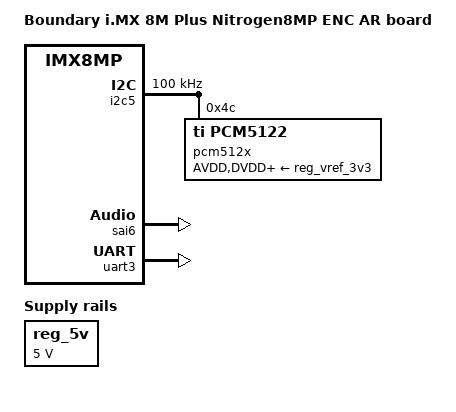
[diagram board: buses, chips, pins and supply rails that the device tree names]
// SPDX-License-Identifier: (GPL-2.0+ OR MIT)
/*
 * Copyright 2023 Boundary Devices
 */

#include "imx8mp-nitrogen8mp-enc.dts"

&iomuxc {
	pinctrl_hog: hoggrp {
		fsl,pins = <
			MX8MP_IOMUXC_HDMI_CEC__HDMIMIX_HDMI_CEC		0x40000019
			MX8MP_IOMUXC_HDMI_DDC_SCL__HDMIMIX_HDMI_SCL	0x400001c3
			MX8MP_IOMUXC_HDMI_DDC_SDA__HDMIMIX_HDMI_SDA	0x400001c3
			MX8MP_IOMUXC_HDMI_HPD__HDMIMIX_HDMI_HPD		0x40000019
			MX8MP_IOMUXC_NAND_DATA01__GPIO3_IO07		0x41	/* J9 pin 17 */
			/* J23 */
			MX8MP_IOMUXC_SAI1_TXD7__GPIO4_IO19		0x41	/* pin 1 */
			MX8MP_IOMUXC_SAI1_RXD4__GPIO4_IO06		0x41	/* pin 3 */
			MX8MP_IOMUXC_SAI1_TXC__GPIO4_IO11		0x41	/* pin 5 */
#if 0
			MX8MP_IOMUXC_SAI1_RXD5__GPIO4_IO07		0x41	/* pin 7 */ /* I2S DOUT */
#endif
			MX8MP_IOMUXC_GPIO1_IO07__GPIO1_IO07		0x41	/* pin 9 */
#if 0
			MX8MP_IOMUXC_SAI1_RXD6__GPIO4_IO08		0x41	/* pin 11 */ /* I2S SYNC */
			MX8MP_IOMUXC_SAI1_TXD4__GPIO4_IO16		0x41	/* pin 13 */ /* I2S BCLK */
#endif
			MX8MP_IOMUXC_SAI1_RXD7__GPIO4_IO09		0x41	/* pin 15 */
			MX8MP_IOMUXC_SAI1_TXFS__GPIO4_IO10		0x41	/* pin 17 */
#if 0
			MX8MP_IOMUXC_SAI1_TXD0__GPIO4_IO12		0x41	/* pin 19 */ /* REG_5V enable */
			MX8MP_IOMUXC_ECSPI1_MISO__GPIO5_IO08		0x41	/* pin 21 */ /* MUTE */
#endif
			MX8MP_IOMUXC_SAI1_TXD1__GPIO4_IO13		0x41	/* pin 23 */
			MX8MP_IOMUXC_SAI1_RXD2__GPIO4_IO04		0x41	/* pin 25 */
			MX8MP_IOMUXC_SAI1_TXD2__GPIO4_IO14		0x41	/* pin 27 */
			MX8MP_IOMUXC_SAI1_RXD3__GPIO4_IO05		0x41	/* pin 29 */
#if 0
			MX8MP_IOMUXC_SAI1_TXD3__GPIO4_IO15		0x41	/* pin 31 */ /* Uart3 TX enable */
			MX8MP_IOMUXC_SAI1_TXD5__GPIO4_IO17		0x41	/* pin 33 */ /* I2S DIN */
#endif

			MX8MP_IOMUXC_SAI1_MCLK__GPIO4_IO20		0x41	/* pin 4 */
#if 0
			MX8MP_IOMUXC_SAI5_MCLK__GPIO3_IO25		0x41	/* pin 6 */ /* I2C5 SDA */
#endif
			MX8MP_IOMUXC_SAI5_RXD3__GPIO3_IO24		0x41	/* pin 8 */
			MX8MP_IOMUXC_ECSPI2_MISO__GPIO5_IO12		0x41	/* Pin 10 */
#if 0
			MX8MP_IOMUXC_ECSPI2_MOSI__GPIO5_IO11		0x41	/* Pin 12 */ /* UART4 TX */
#endif
			MX8MP_IOMUXC_ECSPI2_SS0__GPIO5_IO13		0x41	/* Pin 14 */
#if 0
			MX8MP_IOMUXC_ECSPI2_SCLK__GPIO5_IO10		0x41	/* Pin 16 */ /* UART4 RX */
#endif
			MX8MP_IOMUXC_ECSPI1_SS0__GPIO5_IO09		0x41	/* pin 18 */
			MX8MP_IOMUXC_SD1_DATA4__GPIO2_IO06		0x41	/* pin 22 */
			MX8MP_IOMUXC_SD1_DATA5__GPIO2_IO07		0x41	/* pin 24 */
			MX8MP_IOMUXC_SD1_DATA6__GPIO2_IO08		0x41	/* pin 26 */
			MX8MP_IOMUXC_SD1_RESET_B__GPIO2_IO10		0x41	/* pin 28 */
#if 0
			MX8MP_IOMUXC_SPDIF_TX__GPIO5_IO03		0x41	/* pin 30 */ /* I2C5 SCL */
#endif
			MX8MP_IOMUXC_SD1_DATA7__GPIO2_IO09		0x41	/* pin 34 */
			MX8MP_IOMUXC_SAI2_RXD0__GPIO4_IO23		0x41	/* pin 36 */
#if 0
			MX8MP_IOMUXC_ECSPI1_MOSI__GPIO5_IO07		0x41	/* pin 40 */ /* UART3 TX */
			MX8MP_IOMUXC_ECSPI1_SCLK__GPIO5_IO06		0x41	/* pin 44 */ /* UART3 RX */
#endif
			MX8MP_IOMUXC_UART4_TXD__GPIO5_IO29		0x41	/* pin 42 */
		>;
	};

	pinctrl_i2c5: i2c5grp {
		fsl,pins = <
			MX8MP_IOMUXC_SPDIF_TX__I2C5_SCL			0x400001c3
			MX8MP_IOMUXC_SAI5_MCLK__I2C5_SDA		0x400001c3
		>;
	};

	pinctrl_i2c5_1: i2c5-1grp {
		fsl,pins = <
#define GP_I2C5_SCL	<&gpio5 3 GPIO_OPEN_DRAIN>
			MX8MP_IOMUXC_SPDIF_TX__GPIO5_IO03		0x1c3
#define GP_I2C5_SDA	<&gpio3 25 GPIO_OPEN_DRAIN>
			MX8MP_IOMUXC_SAI5_MCLK__GPIO3_IO25		0x1c3
		>;
	};

	pinctrl_reg_5v: reg-5vgrp {
		fsl,pins = <
#define GP_REG_5V	<&gpio4 12 GPIO_ACTIVE_HIGH>
			MX8MP_IOMUXC_SAI1_TXD0__GPIO4_IO12		0x100
		>;
	};

	pinctrl_sai6: sai6grp {
		fsl,pins = <
			MX8MP_IOMUXC_SAI1_RXD6__AUDIOMIX_SAI6_TX_SYNC	0xd6
			MX8MP_IOMUXC_SAI1_TXD4__AUDIOMIX_SAI6_TX_BCLK	0xd6
			MX8MP_IOMUXC_SAI1_TXD5__AUDIOMIX_SAI6_RX_DATA00	0xd6
			MX8MP_IOMUXC_SAI1_RXD5__AUDIOMIX_SAI6_TX_DATA00	0xd6
		>;
	};

	pinctrl_sound_pcm5122: sound-pcm5122grp {
		fsl,pins = <
#define GP_PCM5122_MUTE	<&gpio5 8 GPIO_ACTIVE_HIGH>
			MX8MP_IOMUXC_ECSPI1_MISO__GPIO5_IO08		0x140

		>;
	};

	pinctrl_uart3: uart3grp {
		fsl,pins = <
			MX8MP_IOMUXC_ECSPI1_SCLK__UART3_DCE_RX		0x140
			MX8MP_IOMUXC_ECSPI1_MOSI__UART3_DCE_TX		0x140
#define GP_UART3_RS485_TX_EN	<&gpio4 15 GPIO_ACTIVE_HIGH>
			MX8MP_IOMUXC_SAI1_TXD3__GPIO4_IO15		0x100
		>;
	};

	pinctrl_uart4: uart4grp {
		fsl,pins = <
			MX8MP_IOMUXC_ECSPI2_SCLK__UART4_DCE_RX		0x140
			MX8MP_IOMUXC_ECSPI2_MOSI__UART4_DCE_TX		0x140
		>;
	};
};

/ {
	model = "Boundary i.MX 8M Plus Nitrogen8MP ENC AR board";
	compatible = "boundary,imx8mp-nitrogen8mp-enc-ar", "fsl,imx8mp";

	reg_5v: regulator-5v {
		compatible = "regulator-fixed";
		enable-active-high;
		gpio = GP_REG_5V;
		pinctrl-names = "default";
		pinctrl-0 = <&pinctrl_reg_5v>;
		regulator-always-on;
		regulator-max-microvolt = <5000000>;
		regulator-min-microvolt = <5000000>;
		regulator-name = "reg_5v";
	};

	sound-pcm512x {
		compatible = "fsl,imx-audio-pcm512x";
		model = "pcm512x-audio";
		audio-widgets =
			"Line", "Left Line Out Jack",
			"Line", "Right Line Out Jack";
		audio-routing =
			"Left Line Out Jack", "OUTL",
			"Right Line Out Jack", "OUTR";
		dac,24db_digital_gain;
		dac,unmute_amp;
		mute-amp-gpio = GP_PCM5122_MUTE;
		pinctrl-names = "default";
		pinctrl-0 = <&pinctrl_sound_pcm5122>;

		pri-dai-link {
			link-name = "pcm512x-hifi";
			format = "i2s";
			cpu {
				sound-dai = <&sai6>;
			};

			codec {
				sound-dai = <&pcm512x>;
			};
		};
	};
};

&ecspi2 {
	status = "disabled";
};

&i2c5 {
	clock-frequency = <100000>;
	pinctrl-names = "default", "gpio";
	pinctrl-0 = <&pinctrl_i2c5>;
	pinctrl-1 = <&pinctrl_i2c5_1>;
	scl-gpios = GP_I2C5_SCL;
	sda-gpios = GP_I2C5_SDA;
	status = "okay";

	pcm512x: pcm512x@4c {
		compatible = "ti,pcm5122";
		reg = <0x4c>;
		AVDD-supply = <&reg_vref_3v3>;
		DVDD-supply = <&reg_vref_3v3>;
		CPVDD-supply = <&reg_vref_3v3>;
		#sound-dai-cells = <0>;
	};
};

&sai6 {
	#sound-dai-cells = <0>;
	pinctrl-names = "default";
	pinctrl-0 = <&pinctrl_sai6>;
	assigned-clocks = <&clk IMX8MP_CLK_SAI6>;
	assigned-clock-parents = <&clk IMX8MP_AUDIO_PLL1_OUT>;
	assigned-clock-rates = <12288000>;
	clocks = <&audio_blk_ctrl IMX8MP_CLK_AUDIO_BLK_CTRL_SAI6_IPG>, <&clk IMX8MP_CLK_DUMMY>,
		 <&audio_blk_ctrl IMX8MP_CLK_AUDIO_BLK_CTRL_SAI6_MCLK1>, <&clk IMX8MP_CLK_DUMMY>,
		 <&clk IMX8MP_CLK_DUMMY>, <&clk IMX8MP_AUDIO_PLL1_OUT>,
		 <&clk IMX8MP_AUDIO_PLL2_OUT>;
	clock-names = "bus", "mclk0", "mclk1", "mclk2", "mclk3", "pll8k", "pll11k";
	status = "okay";
};

&uart3 {
	control-gpios = GP_UART3_RS485_TX_EN;
	linux,rs485-enabled-at-boot-time;
	off_levels = <0>;
	pinctrl-names = "default";
	pinctrl-0 = <&pinctrl_uart3>;
	rs232_levels = <0>;
	rs232_txen_mask = <1>;
	rs232_txen_levels = <1>;
	rs485_levels = <0>;	/* enable rx */
	rs485_txen_mask = <1>;
	rs485_txen_levels = <1>;
	rxact_mask = <0>;	/* this is for rx activity led */
	rxact_levels = <0>;
	status = "okay";
};
